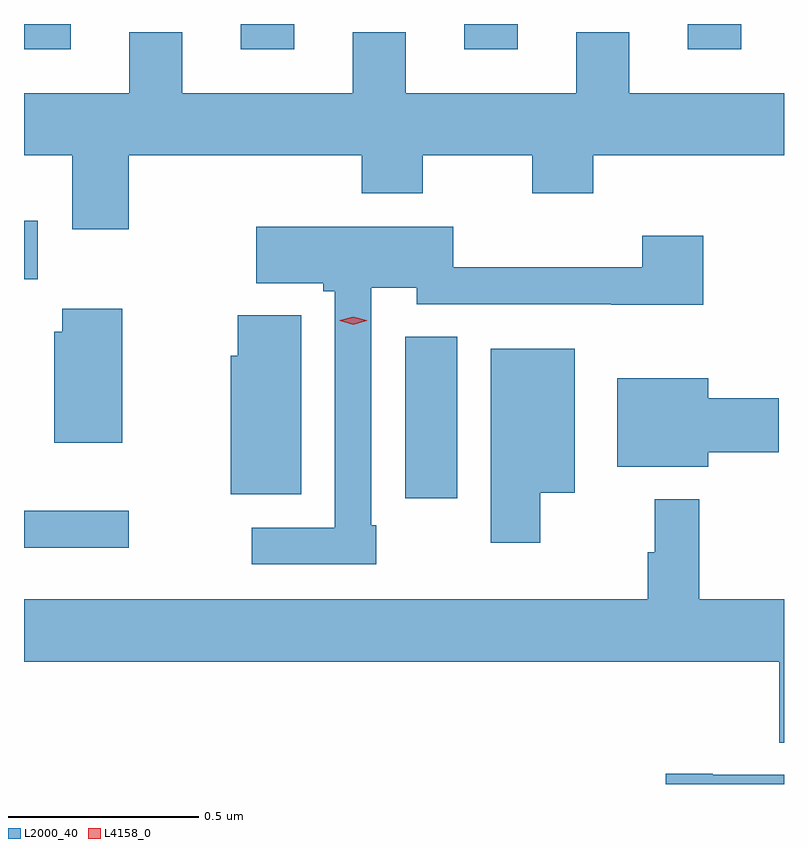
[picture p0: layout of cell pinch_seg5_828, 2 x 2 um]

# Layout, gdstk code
import gdstk
lib = gdstk.Library(unit=1e-6, precision=1e-09)
def R(c, l, rs):  # rectangles x0, y0, x1, y1
    for r in rs: c.add(gdstk.rectangle(r[:2], r[2:], *l))
def A(c, l, x, y, w, h, nx, ny, dx, dy):  # array of equal rectangles
    R(c, l, [(x+i*dx, y+j*dy, x+i*dx+w, y+j*dy+h) for i in range(nx) for j in range(ny)])
def P(c, l, *ps):  # polygons
    for p in ps: c.add(gdstk.Polygon(p, *l))
L2000_40 = (2000, 40)
L4158_0 = (4158, 0)

pinch_seg5_828 = lib.new_cell('pinch_seg5_828')
A(pinch_seg5_828, L2000_40, 766.325, 886.344, 0.14, 0.066, 3, 1, 0.588, 0)
R(pinch_seg5_828, L2000_40, [(765.754,885.032,766.03,885.129), (766.757,885.162,766.894,885.587), (765.754,885.738,765.79,885.892), (765.754,886.344,765.877,886.41)])
P(pinch_seg5_828, L2000_40, [(766.643,885.965),(766.803,885.965),(766.803,886.064),(767.092,886.064),(767.092,885.965),(767.252,885.965),(767.252,886.064),(767.754,886.064),(767.754,886.228),(767.347,886.228),(767.347,886.388),(767.207,886.388),(767.207,886.228),(766.759,886.228),(766.759,886.388),(766.619,886.388),(766.619,886.228),(766.171,886.228),(766.171,886.388),(766.031,886.388),(766.031,886.228),(765.754,886.228),(765.754,886.064),(765.881,886.064),(765.881,885.87),(766.029,885.87),(766.029,886.064),(766.643,886.064)],
  [(766.681,885.091),(766.668,885.091),(766.668,885.716),(766.788,885.716),(766.788,885.672),(767.299,885.672),(767.299,885.671),(767.541,885.671),(767.541,885.853),(767.381,885.853),(767.381,885.77),(766.884,885.77),(766.884,885.877),(766.365,885.877),(766.365,885.728),(766.542,885.728),(766.542,885.707),(766.572,885.707),(766.572,885.084),(766.353,885.084),(766.353,884.988),(766.681,884.988)],
  [(766.012,885.661),(765.854,885.661),(765.854,885.6),(765.833,885.6),(765.833,885.308),(766.012,885.308)],
  [(766.483,885.643),(766.316,885.643),(766.316,885.537),(766.298,885.537),(766.298,885.173),(766.483,885.173)],
  [(767.112,885.176),(767.203,885.176),(767.203,885.556),(766.982,885.556),(766.982,885.045),(767.112,885.045)],
  [(767.554,885.283),(767.74,885.283),(767.74,885.425),(767.554,885.425),(767.554,885.478),(767.315,885.478),(767.315,885.245),(767.554,885.245)],
  [(767.754,884.896),(767.531,884.896),(767.531,885.16),(767.414,885.16),(767.414,885.02),(767.395,885.02),(767.395,884.896),(765.754,884.896),(765.754,884.732),(767.741,884.732),(767.741,884.519),(767.754,884.519)],
  [(767.754,884.434),(767.566,884.434),(767.566,884.437),(767.443,884.437),(767.443,884.41),(767.754,884.41)])
P(pinch_seg5_828, L4158_0, [(766.62,885.619),(766.585,885.629),(766.585,885.629),(766.585,885.63),(766.62,885.639),(766.656,885.63),(766.656,885.629),(766.656,885.629)])

lib.write_gds('pinch_seg5_828.gds')
